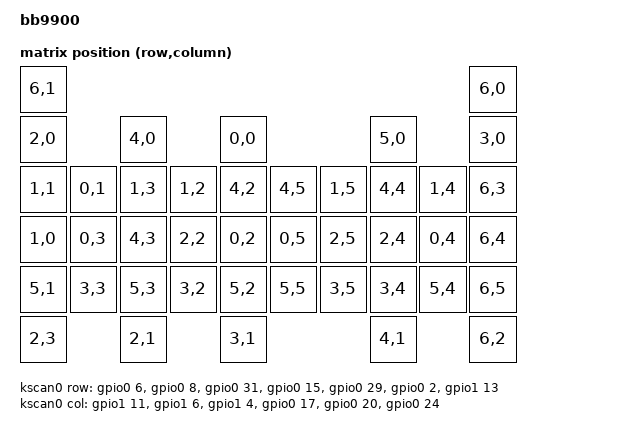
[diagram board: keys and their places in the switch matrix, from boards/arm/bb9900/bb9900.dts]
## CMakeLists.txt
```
cmake_minimum_required(VERSION 3.13.1)

set(CONFIG_APPLICATION_DEFINED_SYSCALL true)

set(ZEPHYR_EXTRA_MODULES "${ZMK_EXTRA_MODULES};${CMAKE_CURRENT_SOURCE_DIR}/module;${CMAKE_CURRENT_SOURCE_DIR}/keymap-module")

# Find Zephyr. This also loads Zephyr's build system.
find_package(Zephyr REQUIRED HINTS ../zephyr)
project(zmk)

zephyr_linker_sources(SECTIONS include/linker/zmk-behaviors.ld)
zephyr_linker_sources(RODATA include/linker/zmk-events.ld)

zephyr_syscall_header(${APPLICATION_SOURCE_DIR}/include/drivers/behavior.h)
zephyr_syscall_header(${APPLICATION_SOURCE_DIR}/include/drivers/ext_power.h)

# Add your source file to the "app" target. This must come after
# find_package(Zephyr) which defines the target.
target_include_directories(app PRIVATE include)
target_sources(app PRIVATE src/stdlib.c)
target_sources(app PRIVATE src/activity.c)
target_sources(app PRIVATE src/behavior.c)
target_sources(app PRIVATE src/kscan.c)
target_sources(app PRIVATE src/matrix_transform.c)
target_sources_ifdef(CONFIG_ZMK_MOUSE app PRIVATE src/mouse/input_config.c)
target_sources(app PRIVATE src/sensors.c)
target_sources_ifdef(CONFIG_ZMK_WPM app PRIVATE src/wpm.c)
target_sources(app PRIVATE src/event_manager.c)
target_sources_ifdef(CONFIG_ZMK_EXT_POWER app PRIVATE src/ext_power_generic.c)
target_sources(app PRIVATE src/events/activity_state_changed.c)
target_sources(app PRIVATE src/events/position_state_changed.c)
target_sources(app PRIVATE src/events/sensor_event.c)
target_sources_ifdef(CONFIG_ZMK_WPM app PRIVATE src/events/wpm_state_changed.c)
target_sources_ifdef(CONFIG_USB_DEVICE_STACK app PRIVATE src/events/usb_conn_state_changed.c)
target_sources(app PRIVATE src/behaviors/behavior_reset.c)
target_sources_ifdef(CONFIG_ZMK_EXT_POWER app PRIVATE src/behaviors/behavior_ext_power.c)
if ((NOT CONFIG_ZMK_SPLIT) OR CONFIG_ZMK_SPLIT_ROLE_CENTRAL)
  target_sources(app PRIVATE src/hid.c)
  target_sources_ifdef(CONFIG_ZMK_MOUSE app PRIVATE src/mouse/hid_input_listener.c)
  target_sources(app PRIVATE src/behaviors/behavior_key_press.c)
  target_sources_ifdef(CONFIG_ZMK_BEHAVIOR_KEY_TOGGLE app PRIVATE src/behaviors/behavior_key_toggle.c)
  target_sources(app PRIVATE src/behaviors/behavior_hold_tap.c)
  target_sources(app PRIVATE src/behaviors/behavior_sticky_key.c)
  target_sources(app PRIVATE src/behaviors/behavior_caps_word.c)
  target_sources(app PRIVATE src/behaviors/behavior_key_repeat.c)
  target_sources_ifdef(CONFIG_ZMK_BEHAVIOR_MACRO app PRIVATE src/behaviors/behavior_macro.c)
  target_sources(app PRIVATE src/behaviors/behavior_momentary_layer.c)
  target_sources(app PRIVATE src/behaviors/behavior_mod_morph.c)
  target_sources(app PRIVATE src/behaviors/behavior_outputs.c)
  target_sources(app PRIVATE src/behaviors/behavior_toggle_layer.c)
  target_sources(app PRIVATE src/behaviors/behavior_to_layer.c)
  target_sources(app PRIVATE src/behaviors/behavior_transparent.c)
  target_sources(app PRIVATE src/behaviors/behavior_none.c)
  target_sources_ifdef(CONFIG_ZMK_BEHAVIOR_SENSOR_ROTATE app PRIVATE src/behaviors/behavior_sensor_rotate.c)
  target_sources_ifdef(CONFIG_ZMK_BEHAVIOR_SENSOR_ROTATE_VAR app PRIVATE src/behaviors/behavior_sensor_rotate_var.c)
  target_sources_ifdef(CONFIG_ZMK_BEHAVIOR_SENSOR_ROTATE_COMMON app PRIVATE src/behaviors/behavior_sensor_rotate_common.c)
  target_sources_ifdef(CONFIG_ZMK_BEHAVIOR_MOUSE_KEY_PRESS app PRIVATE src/behaviors/behavior_mouse_key_press.c)
  target_sources_ifdef(CONFIG_ZMK_BEHAVIOR_INPUT_TWO_AXIS app PRIVATE src/behaviors/behavior_input_two_axis.c)
  target_sources(app PRIVATE src/combo.c)
  target_sources(app PRIVATE src/behaviors/behavior_tap_dance.c)
  target_sources(app PRIVATE src/behavior_queue.c)
  target_sources(app PRIVATE src/conditional_layer.c)
  target_sources(app PRIVATE src/endpoints.c)
  target_sources(app PRIVATE src/events/endpoint_changed.c)
  target_sources(app PRIVATE src/hid_listener.c)
  target_sources(app PRIVATE src/keymap.c)
  target_sources(app PRIVATE src/events/layer_state_changed.c)
  target_sources(app PRIVATE src/events/modifiers_state_changed.c)
  target_sources(app PRIVATE src/events/keycode_state_changed.c)

  target_sources_ifdef(CONFIG_ZMK_INDICATOR_LED app PRIVATE src/indicator_led.c)
  target_sources_ifdef(CONFIG_ZMK_INDICATOR app PRIVATE src/indicator.c)
  target_sources_ifdef(CONFIG_ZMK_INDICATOR_CAPSLOCK app PRIVATE src/indicator_capslock.c)
  target_sources_ifdef(CONFIG_ZMK_HID_INDICATORS app PRIVATE src/hid_indicators.c)

  if (CONFIG_ZMK_BLE)
    target_sources(app PRIVATE src/events/ble_active_profile_changed.c)
    target_sources(app PRIVATE src/behaviors/behavior_bt.c)
    target_sources(app PRIVATE src/ble.c)
    target_sources(app PRIVATE src/hog.c)
  endif()
endif()

target_sources_ifdef(CONFIG_ZMK_RGB_UNDERGLOW app PRIVATE src/behaviors/behavior_rgb_underglow.c)
target_sources_ifdef(CONFIG_ZMK_BACKLIGHT app PRIVATE src/behaviors/behavior_backlight.c)

target_sources_ifdef(CONFIG_ZMK_BATTERY_REPORTING app PRIVATE src/events/battery_state_changed.c)
target_sources_ifdef(CONFIG_ZMK_BATTERY_REPORTING app PRIVATE src/battery.c)

target_sources_ifdef(CONFIG_ZMK_HID_INDICATORS app PRIVATE src/events/hid_indicators_changed.c)

target_sources_ifdef(CONFIG_ZMK_SPLIT app PRIVATE src/events/split_peripheral_status_changed.c)
add_subdirectory(src/split)

target_sources_ifdef(CONFIG_USB_DEVICE_STACK app PRIVATE src/usb.c)
target_sources_ifdef(CONFIG_ZMK_USB app PRIVATE src/usb_hid.c)
target_sources_ifdef(CONFIG_ZMK_RGB_UNDERGLOW app PRIVATE src/rgb_underglow.c)
target_sources_ifdef(CONFIG_ZMK_BACKLIGHT app PRIVATE src/backlight.c)
target_sources(app PRIVATE src/workqueue.c)
target_sources(app PRIVATE src/main.c)

add_subdirectory(src/display/)

zephyr_cc_option(-Wfatal-errors)
```

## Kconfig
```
# Copyright (c) 2020 The ZMK Contributors
# SPDX-License-Identifier: MIT

mainmenu "ZMK Firmware"

menu "ZMK"

menu "Basic Keyboard Setup"

config ZMK_KEYBOARD_NAME
    string "Keyboard Name"

config USB_DEVICE_PRODUCT
    default ZMK_KEYBOARD_NAME

config BT_DEVICE_NAME
    default ZMK_KEYBOARD_NAME

config USB_DEVICE_VID
    default 0x1D50

config USB_DEVICE_PID
    default 0x615E

config USB_DEVICE_MANUFACTURER
    default "ZMK Project"

config BT_DIS_PNP_VID
    default 0x1D50

config BT_DIS_PNP_PID
    default 0x615E

config BT_DIS_MODEL
    default ZMK_KEYBOARD_NAME

config BT_DIS_MANUF
    default "ZMK Project"

# Hardware specific overrides

if SOC_SERIES_NRF52X

# Default on for our usage until boards implement retained bootmode.
config NRF_STORE_REBOOT_TYPE_GPREGRET
    bool
    default y

endif

menu "HID"

choice ZMK_HID_REPORT_TYPE
    prompt "HID Report Type"

config ZMK_HID_REPORT_TYPE_HKRO
    bool "#-Key Roll Over (HKRO) HID Report"
    help
      Enable # key roll over for HID report. This selection is "boot keyboard" compatible
      but limits the total number of possible keys to report as held to #.

config ZMK_HID_REPORT_TYPE_NKRO
    bool "Full N-Key Roll Over (NKRO) HID Report"
    help
      Enable full N-Key Roll Over for HID output. This selection will prevent the keyboard
      from working with some BIOS/UEFI versions that only support "boot keyboard" support.
      This option also prevents using some infrequently used higher range HID usages (notably F13-F24 and INTL1-9)
      These usages can be re enabled with ZMK_HID_KEYBOARD_NKRO_EXTENDED_REPORT.

endchoice

config ZMK_HID_KEYBOARD_NKRO_EXTENDED_REPORT
    bool "Enable extended NKRO reporting"
    depends on ZMK_HID_REPORT_TYPE_NKRO
    help
      Enables higher usage range for NKRO (F13-F24 and INTL1-9).
      Please note this is not compatible with Android currently and you will get no input


if ZMK_HID_REPORT_TYPE_HKRO

config ZMK_HID_KEYBOARD_REPORT_SIZE
    int "# Keyboard Keys Reportable"
    default 6

endif

config ZMK_HID_CONSUMER_REPORT_SIZE
    int "# Consumer Keys Reportable"
    default 6


choice ZMK_HID_CONSUMER_REPORT_USAGES
    prompt "HID Report Type"

config ZMK_HID_CONSUMER_REPORT_USAGES_FULL
    bool "Full Consumer HID Usage Support"
    help
      Enable full Consumer usage ID values to be sent to hosts. Allows for less
      frequently used usages, but has compatibability issues with some host OSes.

config ZMK_HID_CONSUMER_REPORT_USAGES_BASIC
    bool "Basic Consumer HID Usage Support"
    help
      Enable Consumer usage ID values up to "Playback Speed - Slow" to be sent to
      hosts. Allows for broader compatibability with more host OSes.

endchoice

config ZMK_HID_INDICATORS
    bool "HID Indicators"
    help
      Enable HID indicators, used for detecting state of Caps/Scroll/Num Lock,
      Kata, and Compose.

menu "Output Types"

config ZMK_USB
    bool "USB"
    depends on (!ZMK_SPLIT || (ZMK_SPLIT && ZMK_SPLIT_ROLE_CENTRAL))
    select USB
    select USB_DEVICE_STACK
    select USB_DEVICE_HID

config ZMK_USB_BOOT
    bool "USB Boot Protocol Support"
    depends on ZMK_USB
    select USB_HID_BOOT_PROTOCOL
    select USB_DEVICE_SOF

if ZMK_USB

config USB_NUMOF_EP_WRITE_RETRIES
    default 10

config USB_HID_POLL_INTERVAL_MS
    default 1

#ZMK_USB
endif

menuconfig ZMK_BLE
    bool "BLE (HID over GATT)"
    select BT
    select BT_SMP
    select BT_SMP_SC_PAIR_ONLY
    select BT_SMP_APP_PAIRING_ACCEPT
    select BT_PERIPHERAL
    select BT_DIS
    imply BT_SETTINGS if !ARCH_POSIX
    imply SETTINGS if !ARCH_POSIX
    imply ZMK_BATTERY_REPORTING if !ARCH_POSIX

if ZMK_BLE

config ZMK_BLE_EXPERIMENTAL_FEATURES
    bool "Experimental: Enable experimental/advanced BLE settings/features"
    imply ZMK_BLE_PASSKEY_ENTRY
    imply BT_GATT_AUTO_SEC_REQ
    imply BT_SMP_ALLOW_UNAUTH_OVERWRITE
    help
      Enables a combination of settings that are planned to be default in future versions of ZMK.
      This includes changes to timing on BLE pairing initation, BT Secure Connection passkey entry,
      restores use of the updated/new LLCP implementation, disables 2M PHY support, and allows
      overwrite of keys from previously paired hosts.

config ZMK_BLE_PASSKEY_ENTRY
    bool "Require passkey entry on the keyboard to complete pairing"
    default n
    select RING_BUFFER

config BT_CTLR_PHY_2M
    default n if ZMK_BLE_EXPERIMENTAL_FEATURES

# BT_TINYCRYPT_ECC is required for BT_SMP_SC_PAIR_ONLY when using HCI
config BT_TINYCRYPT_ECC
    default y if BT_HCI && !BT_CTLR

config SYSTEM_WORKQUEUE_STACK_SIZE
    default 4096 if SOC_RP2040
    default 2048

config ZMK_BLE_THREAD_STACK_SIZE
    int "BLE notify thread stack size"
    default 768

config ZMK_BLE_THREAD_PRIORITY
    int "BLE notify thread priority"
    default 5

config ZMK_BLE_KEYBOARD_REPORT_QUEUE_SIZE
    int "Max number of keyboard HID reports to queue for sending over BLE"
    default 20

config ZMK_BLE_CONSUMER_REPORT_QUEUE_SIZE
    int "Max number of consumer HID reports to queue for sending over BLE"
    default 5

config ZMK_BLE_MOUSE_REPORT_QUEUE_SIZE
    int "Max number of mouse HID reports to queue for sending over BLE"
    default 20

config ZMK_BLE_CLEAR_BONDS_ON_START
    bool "Configuration that clears all bond information from the keyboard on startup."
    default n

# HID GATT notifications sent this way are *not* picked up by Linux, and possibly others.
config BT_GATT_NOTIFY_MULTIPLE
    default n

config BT_GATT_AUTO_SEC_REQ
    default n

config BT_DEVICE_APPEARANCE
    default 961

config BT_PERIPHERAL_PREF_MIN_INT
    default 6

config BT_PERIPHERAL_PREF_MAX_INT
    default 12

config BT_PERIPHERAL_PREF_LATENCY
    default 30

config BT_PERIPHERAL_PREF_TIMEOUT
    default 400

#ZMK_BLE
endif

#Output Types
endmenu

# HID
endmenu

rsource "src/split/Kconfig"

#Basic Keyboard Setup
endmenu

menu "Display/LED Options"

rsource "src/display/Kconfig"

menuconfig ZMK_RGB_UNDERGLOW
    bool "RGB Adressable LED Underglow"
    select LED_STRIP

if ZMK_RGB_UNDERGLOW

# This default value cuts down on tons of excess .conf files, if you're using GPIO, manually disable this
config SPI
    default y

config ZMK_RGB_UNDERGLOW_EXT_POWER
    bool "RGB underglow toggling also controls external power"
    default y

config ZMK_RGB_UNDERGLOW_BRT_MIN
    int "RGB underglow minimum brightness in percent"
    range 0 100
    default 0

config ZMK_RGB_UNDERGLOW_BRT_MAX
    int "RGB underglow maximum brightness in percent"
    range ZMK_RGB_UNDERGLOW_BRT_MIN 100
    default 100

config ZMK_RGB_UNDERGLOW_HUE_STEP
    int "RGB underglow hue step in degrees"
    range 0 359
    default 10

config ZMK_RGB_UNDERGLOW_SAT_STEP
    int "RGB underglow saturation step in percent"
    range 0 100
    default 10

config ZMK_RGB_UNDERGLOW_BRT_STEP
    int "RGB underglow brightness step in percent"
    range 0 100
    default 10

config ZMK_RGB_UNDERGLOW_HUE_START
    int "RGB underglow start hue value in degrees"
    range 0 359
    default 0

config ZMK_RGB_UNDERGLOW_SAT_START
    int "RGB underglow start saturations value in percent"
    range 0 100
    default 100

config ZMK_RGB_UNDERGLOW_BRT_START
    int "RGB underglow start brightness value in percent"
    range ZMK_RGB_UNDERGLOW_BRT_MIN ZMK_RGB_UNDERGLOW_BRT_MAX
    default ZMK_RGB_UNDERGLOW_BRT_MAX

config ZMK_RGB_UNDERGLOW_SPD_START
    int "RGB underglow start animation speed value"
    range 1 5
    default 3

config ZMK_RGB_UNDERGLOW_EFF_START
    int "RGB underglow start effect int value related to the effect enum list"
    range 0 3
    default 0

config ZMK_RGB_UNDERGLOW_ON_START
    bool "RGB underglow starts on by default"
    default y

config ZMK_RGB_UNDERGLOW_AUTO_OFF_IDLE
    bool "Turn off RGB underglow when keyboard goes into idle state"

config ZMK_RGB_UNDERGLOW_AUTO_OFF_USB
    bool "Turn off RGB underglow when USB is disconnected"
    depends on USB_DEVICE_STACK

#ZMK_RGB_UNDERGLOW
endif

menuconfig ZMK_BACKLIGHT
    bool "LED backlight"
    select LED

if ZMK_BACKLIGHT

config ZMK_BACKLIGHT_BRT_STEP
    int "Brightness step in percent"
    range 1 100
    default 20

config ZMK_BACKLIGHT_BRT_START
    int "Default brightness in percent"
    range 1 100
    default 40

config ZMK_BACKLIGHT_ON_START
    bool "Default backlight state"
    default y

config ZMK_BACKLIGHT_AUTO_OFF_IDLE
    bool "Turn off backlight when keyboard goes into idle state"

config ZMK_BACKLIGHT_AUTO_OFF_USB
    bool "Turn off backlight when USB is disconnected"

#ZMK_BACKLIGHT
endif

menuconfig ZMK_INDICATOR_LED
    bool "LED indicator"

if ZMK_INDICATOR_LED

config ZMK_IDICATOR_LAYER_BRT
    int "Default Brightness On Start"
    range 1 100
    default 20

config ZMK_IDICATOR_LAYER_CYCLE_MAXBRT
    int "Brightness Cycle Max Brightness"
    range 1 100
    default 40

config ZMK_IDICATOR_LAYER_CYCLE_MINBRT
    int "Brightness Cycle Min Brightness"
    range 1 100
    default 40

config ZMK_IDICATOR_LAYER_CYCLE_INTERVAL
    int "Brightness Cycle Interval time in ms"
    default 1000

config ZMK_IDICATOR_BRT_STEP
    int "Brightness Change For Single Step"
    range 1 100
    default 30

config ZMK_IDICATOR_BLINK_INTERVAL
    int "BLINK INTERVAL for INDICATOR LAYER 4"
    default 1000

#ZMK_INDICATOR_LED
endif

menuconfig ZMK_INDICATOR_CAPSLOCK
    bool "LED indicator_capslock"

if ZMK_INDICATOR_CAPSLOCK

config ZMK_INDICATOR_CAPSLOCK_BRT
    int "Default Brightness On Start"
    range 1 100
    default 20

#ZMK_INDICATOR_CAPSLOCK
endif

menuconfig INPUT_A320
    bool "A320 touchpad Driver"
    depends on I2C
    help
      Enable driver for A320
config INPUT_A320_POLLINGRATE
	int "POLLING RATE"
	default 400
	help
	  set the polling rate of a320

config TRACKPAD_SCROLL_INTERVAL
    int "Trackpad scroll interval"
    range 10 500
    default 20

#Display/LED Options
endmenu

menu "Mouse Options"

rsource "src/mouse/Kconfig"

#Mouse Options
endmenu

menu "Power Management"

config ZMK_BATTERY_REPORTING
    bool "Battery level detection/reporting"
    default n
    select SENSOR
    imply BT_BAS if ZMK_BLE

config ZMK_IDLE_TIMEOUT
    int "Milliseconds of inactivity before entering idle state (OLED shutoff, etc)"
    default 30000

config ZMK_SLEEP
    bool "Enable deep sleep support"
    depends on HAS_POWEROFF
    select POWEROFF
    imply USB

if ZMK_SLEEP

config ZMK_IDLE_SLEEP_TIMEOUT
    int "Milliseconds of inactivity before entering deep sleep"
    default 900000

#ZMK_SLEEP
endif

config ZMK_EXT_POWER
    bool "Enable support to control external power output"
    default y

#Power Management
endmenu

menu "Combo options"

config ZMK_COMBO_MAX_PRESSED_COMBOS
    int "Maximum number of currently pressed combos"
    default 4

config ZMK_COMBO_MAX_COMBOS_PER_KEY
    int "Maximum number of combos per key"
    default 5

config ZMK_COMBO_MAX_KEYS_PER_COMBO
    int "Maximum number of keys per combo"
    default 4

#Combo options
endmenu

menu "Behavior Options"

config ZMK_BEHAVIORS_QUEUE_SIZE
    int "Maximum number of behaviors to allow queueing from a macro or other complex behavior"
    default 64

rsource "Kconfig.behaviors"

config ZMK_MACRO_DEFAULT_WAIT_MS
    int "Default time to wait (in milliseconds) before triggering the next behavior in macros"
    default 15

config ZMK_MACRO_DEFAULT_TAP_MS
    int "Default time to wait (in milliseconds) between the press and release events of a tapped behavior in macros"
    default 30

endmenu

menu "Advanced"

menu "Initialization Priorities"

if USB_DEVICE_STACK

config ZMK_USB_INIT_PRIORITY
    int "USB Init Priority"
    default 50

#USB
endif

if ZMK_BLE || ZMK_SPLIT_BLE

config ZMK_BLE_INIT_PRIORITY
    int "BLE Init Priority"
    default 50

#ZMK_BLE || ZMK_SPLIT_BLE
endif

#Initialization Priorities
endmenu

menuconfig ZMK_KSCAN
    bool "ZMK KScan Integration"
    default y
    select KSCAN

if ZMK_KSCAN

config ZMK_KSCAN_EVENT_QUEUE_SIZE
    int "Size of the event queue for KSCAN events to buffer events"
    default 4

endif # ZMK_KSCAN

menu "Logging"

config ZMK_LOGGING_MINIMAL
    bool "Suppress all ZMK debug log messages"
    default false

if !ZMK_LOGGING_MINIMAL

config ZMK_LOG_LEVEL
    default 4

endif

config ZMK_USB_LOGGING
    bool "Enable USB CDC ACM logging to help debug"
    select LOG
    select USB
    select USB_DEVICE_STACK
    select USB_CDC_ACM
    select SERIAL
    select CONSOLE
    select UART_INTERRUPT_DRIVEN
    select UART_LINE_CTRL
    select UART_CONSOLE
    select USB_UART_CONSOLE

if ZMK_USB_LOGGING

choice USB_CDC_ACM_LOG_LEVEL_CHOICE
    default USB_CDC_ACM_LOG_LEVEL_OFF
endchoice

choice USB_DRIVER_LOG_LEVEL_CHOICE
    default USB_DRIVER_LOG_LEVEL_OFF
endchoice

# We do this to avoid log loop where logging to USB generates more log messages.

config USB_CDC_ACM_RINGBUF_SIZE
    default 1024

config LOG_PROCESS_THREAD_STARTUP_DELAY_MS
    default 1000

#ZMK_USB_LOGGING
endif

config ZMK_RTT_LOGGING
    bool "Enable RTT logging to help debug"
    select LOG
    select DEBUG
    select ASSERT
    select USE_SEGGER_RTT
    select CONSOLE
    select RTT_CONSOLE

if ZMK_RTT_LOGGING

config SEGGER_RTT_BUFFER_SIZE_UP
    default 8192

#ZMK_RTT_LOGGING
endif

if ZMK_USB_LOGGING || ZMK_RTT_LOGGING

config LOG_BUFFER_SIZE
    default 8192

config LOG_PROCESS_THREAD_SLEEP_MS
    default 100

#ZMK_USB_LOGGING || ZMK_RTT_LOGGING
endif

#Logging
endmenu

if SETTINGS

config ZMK_SETTINGS_SAVE_DEBOUNCE
    int "Milliseconds to debounce settings saves"
    default 60000

#SETTINGS
endif

config ZMK_BATTERY_REPORT_INTERVAL
    depends on ZMK_BATTERY_REPORTING
    int "Battery level report interval in seconds"
    default 60

config ZMK_LOW_PRIORITY_THREAD_STACK_SIZE
    int "Low priority thread stack size"
    default 768

config ZMK_LOW_PRIORITY_THREAD_PRIORITY
    int "Low priority thread priority"
    default 10

#Advanced
endmenu

#ZMK
endmenu

config HEAP_MEM_POOL_SIZE
    default 8192

config KERNEL_BIN_NAME
    default "zmk"

config REBOOT
    default y

config USB_DEVICE_STACK
    default y if HAS_HW_NRF_USBD

config ZMK_WPM
    bool "Calculate WPM"
    default n

config ZMK_KEYMAP_SENSORS
    bool "Enable Keymap Sensors support"
    default y
    depends on DT_HAS_ZMK_KEYMAP_SENSORS_ENABLED
    select SENSOR

if ZMK_KEYMAP_SENSORS

config ZMK_KEYMAP_SENSORS_DEFAULT_TRIGGERS_PER_ROTATION
    int "Default triggers per rotation"
    help
      Unless overridden for a sensor in the board/shield/devicetree, this value
      determines how many times to trigger the bound behavior per full rotation.
      For tactile encoders with detents, this usually should match the number of
      detents per rotation of the encoder.
    default 20

endif # ZMK_KEYMAP_SENSORS

choice CBPRINTF_IMPLEMENTATION
    default CBPRINTF_NANO

endchoice

module = ZMK
module-str = zmk
source "subsys/logging/Kconfig.template.log_config"

rsource "boards/Kconfig"
rsource "boards/shields/*/Kconfig.defconfig"
rsource "boards/shields/*/Kconfig.shield"

osource "$(ZMK_CONFIG)/boards/shields/*/Kconfig.defconfig"
osource "$(ZMK_CONFIG)/boards/shields/*/Kconfig.shield"


source "Kconfig.zephyr"
```

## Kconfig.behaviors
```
# Copyright (c) 2023 The ZMK Contributors
# SPDX-License-Identifier: MIT

config ZMK_BEHAVIOR_KEY_TOGGLE
    bool
    default y
    depends on DT_HAS_ZMK_BEHAVIOR_KEY_TOGGLE_ENABLED

config ZMK_BEHAVIOR_MOUSE_KEY_PRESS
    bool
    default y
    depends on DT_HAS_ZMK_BEHAVIOR_MOUSE_KEY_PRESS_ENABLED
    imply ZMK_MOUSE

config ZMK_BEHAVIOR_INPUT_TWO_AXIS
    bool
    default y
    depends on DT_HAS_ZMK_BEHAVIOR_INPUT_TWO_AXIS_ENABLED
    imply ZMK_MOUSE

config ZMK_BEHAVIOR_SENSOR_ROTATE_COMMON
    bool
    default n

config ZMK_BEHAVIOR_SENSOR_ROTATE
    bool
    default y
    depends on DT_HAS_ZMK_BEHAVIOR_SENSOR_ROTATE_ENABLED
    select ZMK_BEHAVIOR_SENSOR_ROTATE_COMMON

config ZMK_BEHAVIOR_SENSOR_ROTATE_VAR
    bool
    default y
    depends on DT_HAS_ZMK_BEHAVIOR_SENSOR_ROTATE_VAR_ENABLED
    select ZMK_BEHAVIOR_SENSOR_ROTATE_COMMON

config ZMK_BEHAVIOR_MACRO
    bool
    default y
    depends on DT_HAS_ZMK_BEHAVIOR_MACRO_ENABLED || DT_HAS_ZMK_BEHAVIOR_MACRO_ONE_PARAM_ENABLED || DT_HAS_ZMK_BEHAVIOR_MACRO_TWO_PARAM_ENABLED
```

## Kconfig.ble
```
# Copyright (c) 2023 The ZMK Contributors
# SPDX-License-Identifier: MIT

menuconfig ZMK_BLE
    bool "BLE (HID over GATT)"
    select SMF
    select SMF_ANCESTOR_SUPPORT
    select BT
    select BT_SMP
    select BT_SMP_SC_PAIR_ONLY
    select BT_SMP_APP_PAIRING_ACCEPT
    select BT_PERIPHERAL
    select BT_DIS
    imply BT_SETTINGS if !ARCH_POSIX
    imply SETTINGS if !ARCH_POSIX
    imply ZMK_BATTERY_REPORTING

if ZMK_BLE

module = ZMK_BLE
module-str = zmk_ble
source "subsys/logging/Kconfig.template.log_config"

# BT_TINYCRYPT_ECC is required for BT_SMP_SC_PAIR_ONLY when using HCI
config BT_TINYCRYPT_ECC
    default y if BT_HCI && !BT_CTLR

choice ZMK_BLE_PROFILE_MODE
    prompt "Profile Mode"

config ZMK_BLE_PROFILE_MODE_EXPLICIT
    bool "Explicit"
    help
        Explicit profile management of profiles, selecting which profile is active, etc.

config ZMK_BLE_PROFILE_MODE_AUTOMATIC
    bool "Automatic"
    select BT_KEYS_OVERWRITE_OLDEST
    select BT_SMP_ALLOW_UNAUTH_OVERWRITE
    help
        Automatic profile management of profiles, the active profile is selected whenever
        a host connects.

endchoice



config SYSTEM_WORKQUEUE_STACK_SIZE
    default 4096 if SOC_RP2040
    default 2048

config ZMK_BLE_THREAD_STACK_SIZE
    int "BLE notify thread stack size"
    default 768

config ZMK_BLE_THREAD_PRIORITY
    int "BLE notify thread priority"
    default 5

config ZMK_BLE_KEYBOARD_REPORT_QUEUE_SIZE
    int "Max number of keyboard HID reports to queue for sending over BLE"
    default 20

config ZMK_BLE_CONSUMER_REPORT_QUEUE_SIZE
    int "Max number of consumer HID reports to queue for sending over BLE"
    default 5

config ZMK_BLE_CLEAR_BONDS_ON_START
    bool "Configuration that clears all bond information from the keyboard on startup."
    default n

# HID GATT notifications sent this way are *not* picked up by Linux, and possibly others.
config BT_GATT_NOTIFY_MULTIPLE
    default n

config BT_GATT_AUTO_SEC_REQ
    default n

config BT_DEVICE_APPEARANCE
    default 961

config ZMK_BLE_PASSKEY_ENTRY
    bool "Require passkey entry on the keyboard to complete pairing"
    default n
    select RING_BUFFER

config ZMK_BLE_DIRECTED_ADVERTISING
    bool "Experimental: Enable directed advertising to hosts"
    default n
    select BT_GATT_CLIENT

config ZMK_BLE_PROFILE_AUTO_DISCONNECT
    bool "Experimental: Disconnect connected centrals for non-selected profiles"
    default n
    depends on ZMK_BLE_DIRECTED_ADVERTISING

config BT_PERIPHERAL_PREF_MIN_INT
    default 6

config BT_PERIPHERAL_PREF_MAX_INT
    default 12

config BT_PERIPHERAL_PREF_LATENCY
    default 30

config BT_PERIPHERAL_PREF_TIMEOUT
    default 400

endif
```

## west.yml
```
manifest:
  remotes:
    - name: zephyrproject-rtos
      url-base: https://github.com/zephyrproject-rtos
    - name: zmkfirmware
      url-base: https://github.com/zmkfirmware
    - name: petejohanson
      url-base: https://github.com/petejohanson
  projects:
    - name: zephyr
      remote: petejohanson
      revision: v3.0.0+zmk-fixes+rp2040
      clone-depth: 1
      import:
        # TODO: Rename once upstream offers option like `exclude` or `denylist`
        name-blacklist:
          - ci-tools
          - hal_altera
          - hal_cypress
          - hal_infineon
          - hal_microchip
          - hal_nxp
          - hal_openisa
          - hal_silabs
          - hal_xtensa
          - hal_st
          - hal_ti
          - loramac-node
          - mcuboot
          - mcumgr
          - net-tools
          - openthread
          - edtt
          - trusted-firmware-m
          - sof
  self:
    west-commands: scripts/west-commands.yml
```

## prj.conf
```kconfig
  
# Turn on logging, and set ZMK logging to debug output
CONFIG_LOG=y
CONFIG_ZMK_LOG_LEVEL_DBG=y
#CONFIG_I2C_LOG_LEVEL_DBG=y
CONFIG_LOG_BUFFER_SIZE=10000
CONFIG_LOG_STRDUP_BUF_COUNT=60
#CONFIG_DISPLAY_LOG_LEVEL_DBG=y
#CONFIG_SPI_LOG_LEVEL_DBG=y
CONFIG_ZMK_USB_LOGGING=y

# Turn on USB CDC ACM device
CONFIG_USB=y
CONFIG_USB_DEVICE_STACK=y
CONFIG_USB_CDC_ACM=y
CONFIG_USB_CDC_ACM_RINGBUF_SIZE=1024
CONFIG_USB_CDC_ACM_DEVICE_NAME="CDC_ACM"
CONFIG_USB_CDC_ACM_DEVICE_COUNT=1

# Enable serial console
CONFIG_SERIAL=y
CONFIG_CONSOLE=y
CONFIG_UART_INTERRUPT_DRIVEN=y
CONFIG_UART_LINE_CTRL=y

# Enable USB UART, and set the console device
CONFIG_UART_CONSOLE=y
CONFIG_USB_UART_CONSOLE=y
CONFIG_UART_CONSOLE_ON_DEV_NAME="CDC_ACM_0"
# CONFIG_USB_UART_DTR_WAIT=n
```

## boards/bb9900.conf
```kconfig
CONFIG_I2C=y
CONFIG_SENSOR=n
CONFIG_I2C_NRFX=y
CONFIG_LOG=y
CONFIG_SENSOR_LOG_LEVEL_DBG=y
CONFIG_INPUT_A320=n
CONFIG_INPUT_A320_POLLINGRATE=400
# Indicator for Layer Setting
CONFIG_ZMK_INDICATOR_LED=y
CONFIG_ZMK_IDICATOR_LAYER_BRT=100
CONFIG_ZMK_IDICATOR_LAYER_CYCLE_MAXBRT=100
CONFIG_ZMK_IDICATOR_LAYER_CYCLE_MINBRT=1
CONFIG_ZMK_IDICATOR_LAYER_CYCLE_INTERVAL=50
CONFIG_ZMK_IDICATOR_BRT_STEP=5
```

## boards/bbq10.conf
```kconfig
CONFIG_I2C=y
CONFIG_SENSOR=y
CONFIG_I2C_NRFX=y
CONFIG_LOG=y
CONFIG_SENSOR_LOG_LEVEL_DBG=n
CONFIG_INPUT_A320=y
CONFIG_INPUT_A320_POLLINGRATE=100
```

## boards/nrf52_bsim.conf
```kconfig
CONFIG_ZMK_BLE=y
CONFIG_LOG=y
CONFIG_LOG_BACKEND_SHOW_COLOR=n
CONFIG_ZMK_LOG_LEVEL_DBG=y
CONFIG_ZMK_BLE_LOG_LEVEL_DBG=y
```

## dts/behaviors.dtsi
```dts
#include <behaviors/key_press.dtsi>
#include <behaviors/transparent.dtsi>
#include <behaviors/none.dtsi>
#include <behaviors/mod_tap.dtsi>
#include <behaviors/momentary_layer.dtsi>
#include <behaviors/toggle_layer.dtsi>
#include <behaviors/reset.dtsi>
#include <behaviors/sensor_rotate_key_press.dtsi>
#include <behaviors/rgb_underglow.dtsi>
#include <behaviors/bluetooth.dtsi>
```

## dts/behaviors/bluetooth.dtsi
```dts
/ {
	behaviors {
		bt: behavior_bluetooth {
			compatible = "zmk,behavior-bluetooth";
			label = "BLUETOOTH";
			#binding-cells = <1>;
		};
	};
};
```

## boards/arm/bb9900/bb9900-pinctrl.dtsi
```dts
/*
 * Copyright (c) 2023 ZitaoTech
 * SPDX-License-Identifier: MIT
 */

&pinctrl {
    i2c0_default: i2c0_default {
        group1 {
            psels = <NRF_PSEL(TWIM_SDA, 0, 22)>,
                <NRF_PSEL(TWIM_SCL, 1, 00)>;
        };
    };

    i2c0_sleep: i2c0_sleep {
        group1 {
            psels = <NRF_PSEL(TWIM_SDA, 0, 22)>,
                <NRF_PSEL(TWIM_SCL, 1, 00)>;
            low-power-enable;
        };
    };

    pwm0_default: pwm0_default {
        group1 {
            psels = <NRF_PSEL(PWM_OUT0, 0, 9)>; // Backlight for keyboard
        };
    };

    pwm0_sleep: pwm0_sleep {
        group1 {
            psels = <NRF_PSEL(PWM_OUT0, 0, 9)>;
            bias-pull-down;
        };
    };

    pwm1_default:pwm1_default{
        group1{
            psels = <NRF_PSEL(PWM_OUT0, 0, 10)>; // Backlight for Touchpad
        };
    };

    pwm1_sleep: pwm1_sleep {
        group1 {
            psels = <NRF_PSEL(PWM_OUT0, 0, 10)>;
            bias-pull-down;
        };
    };
};
```

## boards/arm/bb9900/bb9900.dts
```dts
/*
 * Copyright (c) 2023 ZitaoTech
 *
 * SPDX-License-Identifier: MIT
 */

/dts-v1/;
#include <nordic/nrf52840_qiaa.dtsi>

#include <dt-bindings/led/led.h>
#include <dt-bindings/zmk/matrix_transform.h>
#include "bb9900-pinctrl.dtsi"

/ {
    model = "bb9900";
    compatible = "ZitaoTech,bb9900";

    chosen {
        zephyr,code-partition = &code_partition;
        zephyr,sram = &sram0;
        zephyr,flash = &flash0;
        zephyr,console = &cdc_acm_uart;
        zmk,battery = &vbatt;
        zmk,kscan = &kscan0;
        zmk,matrix_transform = &default_transform;
        zmk,led_indicator = &indi_led_indicator;
        zmk_indicator_capslock= &indi_capslock_indicator;
        zmk,backlight = &backlight;
    };

    indi_capslock_indicator:  pwmledo {
        compatible = "pwm-leds";
        pwm_led_0 {
            pwms = <&pwm2 0 PWM_USEC(20) PWM_POLARITY_NORMAL>;
        };
    };

    indi_led_indicator: pwmledt {
        compatible = "pwm-leds";
        pwm_led_0 {
            pwms = <&pwm0 0 PWM_USEC(20) PWM_POLARITY_NORMAL>;
        };
    };

    backlight: pwmleds {
        compatible = "pwm-leds";
        pwm_led_0 {
            pwms = <&pwm1 0 PWM_MSEC(10) PWM_POLARITY_NORMAL>;
        };
    };

    default_transform: keymap_transform_0 {
        compatible = "zmk,matrix-transform";
        columns = <6>;
        rows = <7>;
        map = <
RC(6,1)                                                                   RC(6,0)
RC(2,0)          RC(4,0)             RC(0,0)             RC(5,0)          RC(3,0)
RC(1,1)  RC(0,1) RC(1,3) RC(1,2) RC(4,2) RC(4,5) RC(1,5) RC(4,4) RC(1,4)  RC(6,3)
RC(1,0)  RC(0,3) RC(4,3) RC(2,2) RC(0,2) RC(0,5) RC(2,5) RC(2,4) RC(0,4)  RC(6,4)
RC(5,1)  RC(3,3) RC(5,3) RC(3,2) RC(5,2) RC(5,5) RC(3,5) RC(3,4) RC(5,4)  RC(6,5)
RC(2,3)          RC(2,1)             RC(3,1)             RC(4,1)          RC(6,2)
        >;
    };
    
    kscan0: kscan {
        compatible = "zmk,kscan-gpio-matrix";
        diode-direction = "col2row";
        row-gpios
            = <&gpio0 6 (GPIO_ACTIVE_HIGH | GPIO_PULL_DOWN)>
            , <&gpio0 8  (GPIO_ACTIVE_HIGH | GPIO_PULL_DOWN)>
            , <&gpio0 31 (GPIO_ACTIVE_HIGH | GPIO_PULL_DOWN)>
            , <&gpio0 15  (GPIO_ACTIVE_HIGH | GPIO_PULL_DOWN)>
            , <&gpio0 29  (GPIO_ACTIVE_HIGH | GPIO_PULL_DOWN)>
            , <&gpio0 2 (GPIO_ACTIVE_HIGH | GPIO_PULL_DOWN)>
            , <&gpio1 13 (GPIO_ACTIVE_HIGH | GPIO_PULL_DOWN)>
            ;
        col-gpios
            = <&gpio1 11  GPIO_ACTIVE_HIGH>
            , <&gpio1 6  GPIO_ACTIVE_HIGH>
            , <&gpio1 4  GPIO_ACTIVE_HIGH>
            , <&gpio0 17 GPIO_ACTIVE_HIGH>
            , <&gpio0 20 GPIO_ACTIVE_HIGH>
            , <&gpio0 24 GPIO_ACTIVE_HIGH>
            ;
    };

    leds {
        compatible = "gpio-leds";
        blue_led: led_0 {
            gpios = <&gpio0 10 GPIO_ACTIVE_HIGH>;
        };
    };

    // Node name must match original "EXT_POWER" label to preserve user settings.
    EXT_POWER {
        compatible = "zmk,ext-power-generic";
        control-gpios = <&gpio0 13 GPIO_ACTIVE_HIGH>;
    };

    vbatt: vbatt {
        compatible = "zmk,battery-voltage-divider";
        io-channels = <&adc 2>;
        output-ohms = <2000000>;
        full-ohms = <(2000000 + 820000)>;
    };
};

&adc {
    status = "okay";
};

&gpiote {
    status = "okay";
};

&gpio0 {
    status = "okay";
};

&gpio1 {
    status = "okay";
};

&pwm0 {
    status = "okay";
    pinctrl-0 = <&pwm0_default>;
    pinctrl-1 = <&pwm0_sleep>;
    pinctrl-names = "default", "sleep";
};

&pwm1 {
    status = "okay";
    pinctrl-0 = <&pwm1_default>;
    pinctrl-1 = <&pwm1_sleep>;
    pinctrl-names = "default", "sleep";
};

&pwm2 {
    status = "okay";
    pinctrl-0 = <&pwm2_default>;
    pinctrl-1 = <&pwm2_sleep>;
    pinctrl-names = "default", "sleep";
};


&usbd {
    status = "okay";
    cdc_acm_uart: cdc_acm_uart {
        compatible = "zephyr,cdc-acm-uart";
    };
};

&flash0 {
    /*
     * For more information, see:
     * http://docs.zephyrproject.org/latest/devices/dts/flash_partitions.html
     */
    partitions {
        compatible = "fixed-partitions";
        #address-cells = <1>;
        #size-cells = <1>;

        sd_partition: partition@0 {
            reg = <0x00000000 0x00001000>;
        };

        code_partition: partition@1000 {
            reg = <0x00001000 0x000d3000>;
        };

        /*
         * The flash starting at 0x000d4000 and ending at
         * 0x000f3fff is reserved for use by the application.
         */

        /*
         * Storage partition will be used by FCB/LittleFS/NVS
         * if enabled.
         */
        storage_partition: partition@d4000 {
            reg = <0x000d4000 0x00020000>;
        };

        boot_partition: partition@f4000 {
            reg = <0x000f4000 0x0000c000>;
        };
    };
};
```

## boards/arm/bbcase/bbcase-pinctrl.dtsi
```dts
/*
 * Copyright (c) 2023 The ZMK Contributors
 * SPDX-License-Identifier: Apache-2.0
 */

#include <dt-bindings/pinctrl/rpi-pico-rp2040-pinctrl.h>

&pinctrl {
	uart1_default: uart0_default {
		group1 {
			pinmux = <UART1_TX_P20>;
		};
		group2 {
			pinmux = <UART1_RX_P5>;
			input-enable;
		};
	};

	i2c1_default: i2c1_default {
		group1 {
			pinmux = <I2C1_SDA_P22>, <I2C1_SCL_P23>;
			input-enable;
			input-schmitt-enable;
		};
	};


	spi0_default: spi0_default {
		group1 {
			pinmux = <SPI0_TX_P3>, <SPI0_SCK_P6>;
		};
		group2 {
			pinmux = <SPI0_RX_P4>;
			input-enable;
		};
	};
};
```

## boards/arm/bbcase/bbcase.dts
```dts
/*
 * Copyright (c) 2023 The ZMK Contributors
 *
 * SPDX-License-Identifier: Apache-2.0
 */

/dts-v1/;

#include <rpi_pico/rp2040.dtsi>
#include "bbcase-pinctrl.dtsi"
#include <dt-bindings/zmk/matrix_transform.h>
#include <freq.h>

/ {

    chosen {
        zephyr,sram = &sram0;
        zephyr,flash = &flash0;
        zephyr,console = &cdc_acm_uart;
        zephyr,shell-uart = &cdc_acm_uart;
        zephyr,code-partition = &code_partition;
        zmk,kscan = &kscan0;
        zmk,matrix_transform = &default_transform;
    };

    xtal_clk: xtal-clk {
        compatible = "fixed-clock";
        clock-frequency = <12000000>;
        #clock-cells = <0>;
    };

    default_transform: keymap_transform_0 {
        compatible = "zmk,matrix-transform";
        columns = <15>;
        rows = <5>;
        map = <
RC(0,0) RC(0,1) RC(0,2) RC(0,3) RC(0,4) RC(0,5) RC(0,6) RC(0,7) RC(0,8) RC(0,9) RC(0,10) RC(0,11) RC(0,12) RC(0,13) RC(0,14)
RC(1,0) RC(1,1) RC(1,2) RC(1,3) RC(1,4) RC(1,5) RC(1,6) RC(1,7) RC(1,8) RC(1,9) RC(1,10) RC(1,11) RC(1,12) RC(1,13) RC(1,14)
RC(2,0) RC(2,1) RC(2,2) RC(2,3) RC(2,4) RC(2,5) RC(2,6) RC(2,7) RC(2,8) RC(2,9) RC(2,10) RC(2,11) RC(2,12)          RC(2,14)
RC(3,0) RC(3,1) RC(3,2) RC(3,3) RC(3,4) RC(3,5) RC(3,6) RC(3,7) RC(3,8) RC(3,9) RC(3,10) RC(3,11)          RC(3,13) RC(3,14)
RC(4,0) RC(4,1) RC(4,2)                         RC(4,6)         RC(4,8) RC(4,9) RC(4,10)          RC(4,12) RC(4,13) RC(4,14)
        >;
    };

    kscan0: kscan {
        compatible = "zmk,kscan-gpio-matrix";

        diode-direction = "col2row";
        row-gpios
            = <&gpio0 29 (GPIO_ACTIVE_HIGH | GPIO_PULL_DOWN)>
            , <&gpio0 28 (GPIO_ACTIVE_HIGH | GPIO_PULL_DOWN)>
            , <&gpio0 27 (GPIO_ACTIVE_HIGH | GPIO_PULL_DOWN)>
            , <&gpio0 26 (GPIO_ACTIVE_HIGH | GPIO_PULL_DOWN)>
            , <&gpio0 22 (GPIO_ACTIVE_HIGH | GPIO_PULL_DOWN)>
            ;
        col-gpios
            = <&gpio0 25 GPIO_ACTIVE_HIGH>
            , <&gpio0 24 GPIO_ACTIVE_HIGH>
            , <&gpio0 23 GPIO_ACTIVE_HIGH>
            , <&gpio0 1  GPIO_ACTIVE_HIGH>
            , <&gpio0 7  GPIO_ACTIVE_HIGH>
            , <&gpio0 21 GPIO_ACTIVE_HIGH>
            , <&gpio0 20 GPIO_ACTIVE_HIGH>
            , <&gpio0 19 GPIO_ACTIVE_HIGH>
            , <&gpio0 18 GPIO_ACTIVE_HIGH>
            , <&gpio0 17 GPIO_ACTIVE_HIGH>
            , <&gpio0 16 GPIO_ACTIVE_HIGH>
            , <&gpio0 15 GPIO_ACTIVE_HIGH>
            , <&gpio0 14 GPIO_ACTIVE_HIGH>
            , <&gpio0 13 GPIO_ACTIVE_HIGH>
            , <&gpio0 12 GPIO_ACTIVE_HIGH>
            ;
    };
};

&flash0 {
    reg = <0x10000000 DT_SIZE_M(16)>;

    partitions {
        compatible = "fixed-partitions";
        #address-cells = <1>;
        #size-cells = <1>;

        /* Reserved memory for the second stage bootloader */
        second_stage_bootloader: partition@0 {
            reg = <0x00000000 0x100>;
            read-only;
        };

        /*
         * Usable flash. Starts at 0x100, after the bootloader. The partition
         * size is 16MB minus the 0x100 bytes taken by the bootloader.
         */
        code_partition: partition@100 {
            reg = <0x100 (DT_SIZE_M(16) - 0x100)>;
            read-only;
        };
    };
};


&usbd {
  status = "okay";
  cdc_acm_uart: cdc_acm_uart {
    compatible = "zephyr,cdc-acm-uart";
  };
};


&gpio0 {
    status = "okay";
};
```

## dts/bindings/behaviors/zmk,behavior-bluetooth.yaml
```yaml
# Copyright (c) 2020, Peter Johanson
# SPDX-License-Identifier: MIT

description: Bluetooth Behavior

compatible: "zmk,behavior-bluetooth"

include: one_param.yaml
```

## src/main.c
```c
/*
 * Copyright (c) 2020 The ZMK Contributors
 *
 * SPDX-License-Identifier: MIT
 */

#include <zephyr/kernel.h>
#include <zephyr/device.h>
#include <zephyr/devicetree.h>
#include <zephyr/settings/settings.h>
#include <zephyr/drivers/sensor.h>
#include <zephyr/logging/log.h>
LOG_MODULE_REGISTER(zmk, CONFIG_ZMK_LOG_LEVEL);

#include <zmk/matrix.h>
#include <zmk/kscan.h>
#include <zmk/display.h>
#include <drivers/ext_power.h>

#include <zmk/hid.h>
#include <dt-bindings/zmk/mouse.h>
#include <zmk/hid_indicators.h>
#include <zmk/indicator_capslock.h>
#ifdef CONFIG_ZMK_MOUSE
#include <zmk/mouse.h>
#endif /* CONFIG_ZMK_MOUSE */
static const struct device *get_a320_device(void) {
    const struct device *dev = DEVICE_DT_GET_ANY(avago_a320);

    if (dev == NULL) {
        printk("\nError: no device found.\n");
        return NULL;
    }
    if (!device_is_ready(dev)) {
        printk("\nError: Device \"%s\" is not ready; "
               "check the driver initialization logs for errors.\n",
               dev->name);
        return NULL;
    }
    printk("Found device \"%s\", getting sensor data\n", dev->name);
    return dev;
}
int main(void) {
    LOG_INF("Welcome to ZMK!\n");

    if (zmk_kscan_init(DEVICE_DT_GET(ZMK_MATRIX_NODE_ID)) != 0) {
        return -ENOTSUP;
    }
    const struct device *dev = get_a320_device();
    if (dev == NULL) {
        return;
    }
#ifdef CONFIG_ZMK_DISPLAY
    zmk_display_init();
#endif /* CONFIG_ZMK_DISPLAY */
    struct sensor_value xy_pos;
    while (1) {
        sensor_channel_get(dev, SENSOR_CHAN_AMBIENT_TEMP, &xy_pos);
        char target_9900[] = "bb9900";
        char target_q10[] = "bbq10";
        char target_q20[] = "bbq20";
        char target_q30[] = "bbq30";
        char target_9981[] = "bb9981";
        char target_9983[] = "bb9983";
        if (strcmp(CONFIG_ZMK_KEYBOARD_NAME, target_9900) == 0) {
            int8_t x = xy_pos.val2;
            int8_t y = xy_pos.val1;
            int8_t scroll_x = 0;
            int8_t scroll_y = 0;
            if (zmk_hid_indicators_get_current_profile() == 2 ||
                zmk_hid_indicators_get_current_profile() == 3 ||
                zmk_hid_indicators_get_current_profile() == 7) {
                if (abs(y) >= 128) {
                    scroll_x = -x / 24;
                    scroll_y = -y / 24;
                } else if (abs(y) >= 64 && abs(y) < 128) {
                    scroll_x = -x / 16;
                    scroll_y = -y / 16;
                } else if (abs(y) >= 32 && abs(y) < 64) {
                    scroll_x = -x / 12;
                    scroll_y = -y / 12;
                } else if (abs(y) >= 21 && abs(y) < 32) {
                    scroll_x = -x / 8;
                    scroll_y = -y / 8;
                } else if (abs(y) >= 3 && abs(y) < 20) {
                    scroll_x = -(x > 0) ? 1 : (x < 0) ? -1 : 0;
                    scroll_y = -((y > 0) ? 1 : (y < 0) ? -1 : 0);
                } else if (abs(y) >= 0 && abs(y) < 2) {
                    scroll_x = -(x > 0) ? 1 : (x < 0) ? -1 : 0;;
                    scroll_y = 0;
                }
                int Scroll_INTERVAL = CONFIG_TRACKPAD_SCROLL_INTERVAL;
                k_sleep(K_MSEC(Scroll_INTERVAL));
                x = 0;
                y = 0;
            } else {
                x = ((x < 127) ? x : (x - 256)) * 1.5;
                y = ((y < 127) ? y : (y - 256)) * 1.5;
            }
            zmk_hid_mouse_movement_set(0, 0);
            zmk_hid_mouse_movement_update(x, y);
            zmk_hid_mouse_scroll_set(0, 0);
            zmk_hid_mouse_scroll_update(scroll_x, scroll_y);
            zmk_endpoints_send_mouse_report();
        } else if (strcmp(CONFIG_ZMK_KEYBOARD_NAME, target_q10) == 0 ||
                   strcmp(CONFIG_ZMK_KEYBOARD_NAME, target_q30) == 0 ||
                   strcmp(CONFIG_ZMK_KEYBOARD_NAME, target_9981) == 0 ||
                   strcmp(CONFIG_ZMK_KEYBOARD_NAME, target_9983) == 0) {
            int8_t x = xy_pos.val1;
            int8_t y = -1 * xy_pos.val2;
            // LOG_DBG("x value : %d , y value : %d\r\n", val->val1, val->val2);
            int8_t scroll_x = 0;
            int8_t scroll_y = 0;
            if (zmk_hid_indicators_get_current_profile() == 2 ||
                zmk_hid_indicators_get_current_profile() == 3 ||
                zmk_hid_indicators_get_current_profile() == 7) {
                if (abs(y) >= 128) {
                    scroll_x = -x / 24;
                    scroll_y = -y / 24;
                } else if (abs(y) >= 64 && abs(y) < 128) {
                    scroll_x = -x / 16;
                    scroll_y = -y / 16;
                } else if (abs(y) >= 32 && abs(y) < 64) {
                    scroll_x = -x / 12;
                    scroll_y = -y / 12;
                } else if (abs(y) >= 21 && abs(y) < 32) {
                    scroll_x = -x / 8;
                    scroll_y = -y / 8;
                } else if (abs(y) >= 3 && abs(y) < 20) {
                    scroll_x = -(x > 0) ? 1 : (x < 0) ? -1 : 0;
                    scroll_y = -((y > 0) ? 1 : (y < 0) ? -1 : 0);
                } else if (abs(y) >= 0 && abs(y) < 2) {
                    scroll_x = -(x > 0) ? 1 : (x < 0) ? -1 : 0;;
                    scroll_y = 0;
                }
                int Scroll_INTERVAL = CONFIG_TRACKPAD_SCROLL_INTERVAL;
                k_sleep(K_MSEC(Scroll_INTERVAL));
                x = 0;
                y = 0;
            } else {
                x = ((x < 127) ? x : (x - 256)) * 1.5;
                y = ((y < 127) ? y : (y - 256)) * 1.5;
            }
            zmk_hid_mouse_movement_set(0, 0);
            zmk_hid_mouse_movement_update(x, y);
            zmk_hid_mouse_scroll_set(0, 0);
            zmk_hid_mouse_scroll_update(scroll_x, scroll_y);
            zmk_endpoints_send_mouse_report();
        } else if (strcmp(CONFIG_ZMK_KEYBOARD_NAME, target_q20) == 0) {
            int8_t x = -1 * xy_pos.val1;
            int8_t y = xy_pos.val2;
            // LOG_DBG("x value : %d , y value : %d\r\n", val->val1, val->val2);
            int8_t scroll_x = 0;
            int8_t scroll_y = 0;
            if (zmk_hid_indicators_get_current_profile() == 2 ||
                zmk_hid_indicators_get_current_profile() == 3 ||
                zmk_hid_indicators_get_current_profile() == 7) {
                if (abs(y) >= 128) {
                    scroll_x = -x / 24;
                    scroll_y = -y / 24;
                } else if (abs(y) >= 64 && abs(y) < 128) {
                    scroll_x = -x / 16;
                    scroll_y = -y / 16;
                } else if (abs(y) >= 32 && abs(y) < 64) {
                    scroll_x = -x / 12;
                    scroll_y = -y / 12;
                } else if (abs(y) >= 21 && abs(y) < 32) {
                    scroll_x = -x / 8;
                    scroll_y = -y / 8;
                } else if (abs(y) >= 3 && abs(y) < 20) {
                    scroll_x = -(x > 0) ? 1 : (x < 0) ? -1 : 0;
                    scroll_y = -((y > 0) ? 1 : (y < 0) ? -1 : 0);
                } else if (abs(y) >= 0 && abs(y) < 2) {
                    scroll_x = -(x > 0) ? 1 : (x < 0) ? -1 : 0;;
                    scroll_y = 0;
                }
                int Scroll_INTERVAL = CONFIG_TRACKPAD_SCROLL_INTERVAL;
                k_sleep(K_MSEC(Scroll_INTERVAL));
                x = 0;
                y = 0;
            } else {
                x = ((x < 127) ? x : (x - 256)) * 1.5;
                y = ((y < 127) ? y : (y - 256)) * 1.5;
            }
            zmk_hid_mouse_movement_set(0, 0);
            zmk_hid_mouse_movement_update(x, y);
            zmk_hid_mouse_scroll_set(0, 0);
            zmk_hid_mouse_scroll_update(scroll_x, scroll_y);
            zmk_endpoints_send_mouse_report();
        }
        int polling_ms = (1.0 / (float)CONFIG_INPUT_A320_POLLINGRATE) * 1000.0;
        k_sleep(K_MSEC(polling_ms));
    }
}
```

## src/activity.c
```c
/*
 * Copyright (c) 2020 The ZMK Contributors
 *
 * SPDX-License-Identifier: MIT
 */

#include <device.h>
#include <init.h>
#include <kernel.h>
#include <pm/pm.h>

#include <logging/log.h>

LOG_MODULE_DECLARE(zmk, CONFIG_ZMK_LOG_LEVEL);

#include <zmk/event_manager.h>
#include <zmk/events/activity_state_changed.h>
#include <zmk/events/position_state_changed.h>
#include <zmk/events/sensor_event.h>

#include <zmk/activity.h>

static enum zmk_activity_state activity_state;

static uint32_t activity_last_uptime;

#define MAX_IDLE_MS CONFIG_ZMK_IDLE_TIMEOUT

#if IS_ENABLED(CONFIG_ZMK_SLEEP)
#define MAX_SLEEP_MS CONFIG_ZMK_IDLE_SLEEP_TIMEOUT
#endif

int raise_event() {
    return ZMK_EVENT_RAISE(new_zmk_activity_state_changed(
        (struct zmk_activity_state_changed){.state = activity_state}));
}

int set_state(enum zmk_activity_state state) {
    if (activity_state == state)
        return 0;

    activity_state = state;
    return raise_event();
}

enum zmk_activity_state zmk_activity_get_state() { return activity_state; }

int activity_event_listener(const zmk_event_t *eh) {
    activity_last_uptime = k_uptime_get();

    return set_state(ZMK_ACTIVITY_ACTIVE);
}

void activity_work_handler(struct k_work *work) {
    int32_t current = k_uptime_get();
    int32_t inactive_time = current - activity_last_uptime;
#if IS_ENABLED(CONFIG_ZMK_SLEEP)
    if (inactive_time > MAX_SLEEP_MS) {
        // Put devices in low power mode before sleeping
        pm_power_state_force(0, (struct pm_state_info){PM_STATE_STANDBY, 0, 0});
        set_state(ZMK_ACTIVITY_SLEEP);
    } else
#endif /* IS_ENABLED(CONFIG_ZMK_SLEEP) */
        if (inactive_time > MAX_IDLE_MS) {
        set_state(ZMK_ACTIVITY_IDLE);
    }
}

K_WORK_DEFINE(activity_work, activity_work_handler);

void activity_expiry_function() { k_work_submit(&activity_work); }

K_TIMER_DEFINE(activity_timer, activity_expiry_function, NULL);

int activity_init() {
    activity_last_uptime = k_uptime_get();

    k_timer_start(&activity_timer, K_SECONDS(1), K_SECONDS(1));
    return 0;
}

ZMK_LISTENER(activity, activity_event_listener);
ZMK_SUBSCRIPTION(activity, zmk_position_state_changed);
ZMK_SUBSCRIPTION(activity, zmk_sensor_event);

SYS_INIT(activity_init, APPLICATION, CONFIG_APPLICATION_INIT_PRIORITY);
```

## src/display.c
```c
/*
 * Copyright (c) 2020 Peter Johanson
 *
 * SPDX-License-Identifier: MIT
 */

#include <init.h>
#include <device.h>
#include <devicetree.h>

#include <logging/log.h>
LOG_MODULE_DECLARE(zmk, CONFIG_ZMK_LOG_LEVEL);

#include <drivers/display.h>
#include <lvgl.h>

#define ZMK_DISPLAY_NAME CONFIG_LVGL_DISPLAY_DEV_NAME

static struct device *display;

static lv_obj_t *screen;

#ifdef CONFIG_ZMK_DISPLAY_LOGO
extern const lv_img_dsc_t zmk_logo;
#endif

int zmk_display_init()
{
    lv_obj_t *zmk_brand_lbl;
    lv_obj_t *keyboard_name_lbl;
    lv_obj_t *outer_container;
    lv_obj_t *lbl_cont;
#ifdef CONFIG_ZMK_DISPLAY_LOGO
    lv_obj_t *logo_img;
#endif 

    LOG_DBG("");

    display = device_get_binding(ZMK_DISPLAY_NAME);
    if (display == NULL) {
        LOG_ERR("Failed to find display device");
        return -EINVAL;
    }

    screen = lv_obj_create(NULL, NULL);
    lv_scr_load(screen);

    outer_container = lv_cont_create(lv_scr_act(), NULL);
    lv_obj_set_style(outer_container, &lv_style_transp_tight);
    lv_cont_set_layout(outer_container, LV_LAYOUT_ROW_M);
    lv_cont_set_fit(outer_container, LV_FIT_FLOOD);

#ifdef CONFIG_ZMK_DISPLAY_LOGO
    logo_img = lv_img_create(outer_container, NULL);
    lv_img_set_src(logo_img, &zmk_logo);
    lv_obj_set_style(logo_img, &lv_style_transp_tight);
#endif 

    lbl_cont = lv_cont_create(outer_container, NULL);
    lv_obj_set_style(lbl_cont, &lv_style_transp_tight);
    lv_cont_set_layout(lbl_cont, LV_LAYOUT_COL_M);
    lv_cont_set_fit(lbl_cont, LV_FIT_FLOOD);
    zmk_brand_lbl = lv_label_create(lbl_cont, NULL);
    lv_label_set_text(zmk_brand_lbl, "ZMK");
    keyboard_name_lbl = lv_label_create(lbl_cont, NULL);
    lv_label_set_long_mode(keyboard_name_lbl, LV_LABEL_LONG_BREAK);
    lv_label_set_text(keyboard_name_lbl, CONFIG_ZMK_KEYBOARD_NAME);
    lv_task_handler();
    display_blanking_off(display);

    return 0;
}

void zmk_display_task_handler()
{
    lv_tick_inc(10);
    lv_task_handler();
    k_sleep(K_MSEC(10));
}
```
